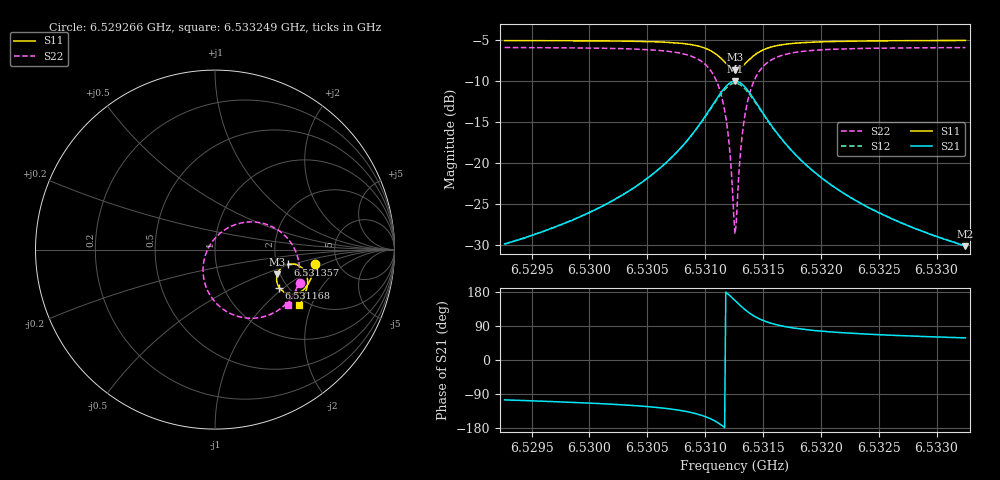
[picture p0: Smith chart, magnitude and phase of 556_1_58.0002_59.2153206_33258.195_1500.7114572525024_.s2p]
#  HZ  S  RI  R  50.00
! Rohde & Schwarz Vector Network Analyzer
! Rohde-Schwarz,ZNB20-2Port,1311601062101988,3.16
! Created: UTC 3/21/2024, 1:15:12 AM
! freq[Hz]  re:S11  im:S11  re:S21  im:S21  re:S12  im:S12  re:S22  im:S22
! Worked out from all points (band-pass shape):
!   401 points, 6.529266 GHz to 6.533249 GHz, reference 50 ohm
!   highest |S21| = -9.97 dB at 6.531258 GHz (marker M1); lowest = -30.1 dB at 6.533249 GHz (marker M2)
!   |S21| within 3 dB of the highest: 6.531061 GHz to 6.531458 GHz (397.6 kHz wide, 0.00609 % of centre)
!   lowest |S11| = -8.6 dB at 6.531258 GHz (marker M3), VSWR 2.19, Z = 96.6 - j31 ohm
!   |S11| at or under -10 dB: nowhere
!   |S22| runs from -28.6 to -5.9 dB; largest |S21 - S12| = 0.013
!   S11 on the Smith chart (normalised r, x): 6.529266 GHz: 3.37, -0.76; 6.531168 GHz: 1.81, -0.93; 6.531357 GHz: 2.30, -0.46; 6.533249 GHz: 1.82, -1.64
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6.5292663e9  0.5554 -0.0776  -0.00846 -0.031  -0.0092 -0.0308  0.4736 -0.1872
6.5299334e9  0.5435 -0.1333  -0.0185 -0.0438  -0.0196 -0.0435  0.4406 -0.2488
6.5303018e9  0.5313 -0.1678  -0.0312 -0.0571  -0.0326 -0.0564  0.4071 -0.2914
6.5306006e9  0.5134 -0.2003  -0.0539 -0.0748  -0.0561 -0.0733  0.3557 -0.3355
6.5308296e9  0.4851 -0.2295  -0.0952 -0.0937  -0.0979 -0.0904  0.2723 -0.3736
6.5309989e9  0.4397 -0.2477  -0.1654 -0.099  -0.1676 -0.0921  0.1437 -0.3763
6.5310984e9  0.3935 -0.2408  -0.2366 -0.0702  -0.2353 -0.0604  0.0249 -0.3161
6.5311681e9  0.3579 -0.2114  -0.2882 -0.00881  -0.2817 0.00127  -0.0513 -0.2043
6.531208e9  0.3452 -0.182  -0.3038 0.0463  -0.2938 0.0541  -0.0669 -0.1105
6.5312378e9  0.3434 -0.1559  -0.3014 0.093  -0.2902 0.0981  -0.0548 -0.0345
6.5312478e9  0.3448 -0.1471  -0.2974 0.1087  -0.286 0.1129  -0.0457 -0.00968
6.5312578e9  0.347 -0.1383  -0.292 0.124  -0.2805 0.127  -0.0342 0.0144
6.5312677e9  0.3502 -0.1299  -0.2852 0.1386  -0.2735 0.1407  -0.0204 0.037
6.5312777e9  0.3543 -0.1218  -0.2768 0.1525  -0.2653 0.1536  -0.00443 0.0579
6.5313175e9  0.3774 -0.0961  -0.2326 0.1965  -0.2233 0.1942  0.0746 0.1224
6.5313573e9  0.4057 -0.0825  -0.1816 0.2194  -0.1747 0.2156  0.1625 0.1516
6.531427e9  0.4507 -0.0832  -0.1032 0.2196  -0.1 0.216  0.2932 0.1382
6.5315266e9  0.4894 -0.1069  -0.037 0.1858  -0.0355 0.1839  0.4004 0.0667
6.531676e9  0.5111 -0.1442  0.0022 0.1367  0.00331 0.1358  0.4577 -0.0321
6.5319249e9  0.5157 -0.1883  0.0181 0.0888  0.0192 0.0885  0.4706 -0.1318
6.5325921e9  0.4967 -0.2585  0.0191 0.0425  0.0199 0.0421  0.4404 -0.2481
6.5332493e9  0.4706 -0.3079  0.0163 0.0265  0.017 0.0262  0.4056 -0.3069
